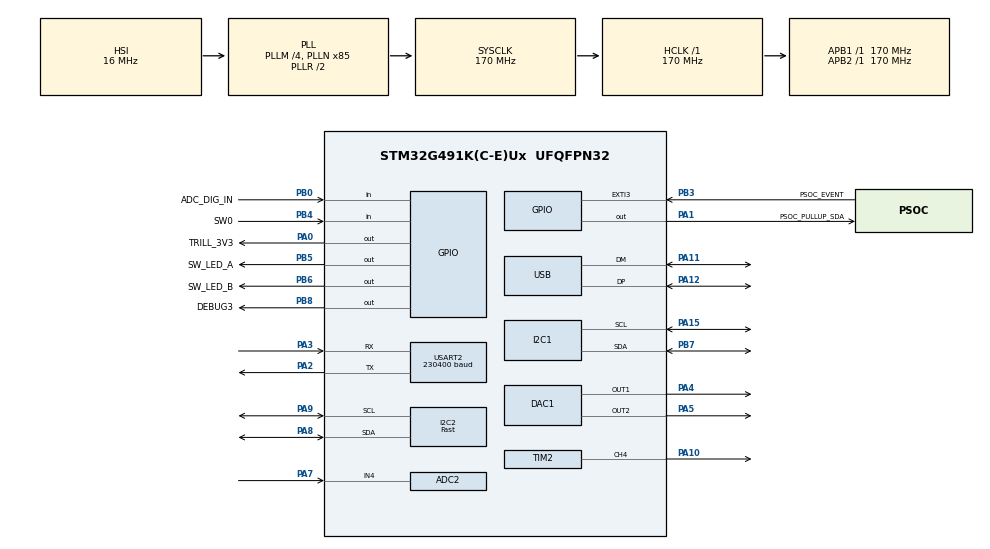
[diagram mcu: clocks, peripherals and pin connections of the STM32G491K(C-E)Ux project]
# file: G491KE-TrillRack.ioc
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ADC2.Channel-0\#ChannelRegularConversion=ADC_CHANNEL_4
ADC2.ClockPrescaler=ADC_CLOCK_ASYNC_DIV4
ADC2.DMAContinuousRequests=ENABLE
ADC2.ExternalTrigConv=ADC_EXTERNALTRIG_T6_TRGO
ADC2.NbrOfConversion=1
ADC2.NbrOfConversionFlag=1
ADC2.OffsetNumber-0\#ChannelRegularConversion=ADC_OFFSET_NONE
ADC2.OversamplingMode=ENABLE
ADC2.Rank-0\#ChannelRegularConversion=1
ADC2.Ratio=ADC_OVERSAMPLING_RATIO_16
ADC2.RightBitShift=ADC_RIGHTBITSHIFT_1
ADC2.SamplingTime-0\#ChannelRegularConversion=ADC_SAMPLETIME_47CYCLES_5
DAC1.DAC_Channel-DAC_OUT2=DAC_CHANNEL_2
DAC1.DAC_Trigger_OUT1-DAC_OUT1=DAC_TRIGGER_T6_TRGO
DAC1.DAC_Trigger_OUT2-DAC_OUT2=DAC_TRIGGER_T6_TRGO
Dma.ADC2.4.Direction=DMA_PERIPH_TO_MEMORY
Dma.ADC2.4.EventEnable=DISABLE
Dma.ADC2.4.Instance=DMA1_Channel5
Dma.ADC2.4.MemDataAlignment=DMA_MDATAALIGN_HALFWORD
Dma.ADC2.4.MemInc=DMA_MINC_ENABLE
Dma.ADC2.4.Mode=DMA_CIRCULAR
Dma.ADC2.4.PeriphDataAlignment=DMA_PDATAALIGN_HALFWORD
Dma.ADC2.4.PeriphInc=DMA_PINC_DISABLE
Dma.ADC2.4.Polarity=HAL_DMAMUX_REQ_GEN_RISING
Dma.ADC2.4.Priority=DMA_PRIORITY_LOW
Dma.ADC2.4.RequestNumber=1
Dma.ADC2.4.SignalID=NONE
Dma.ADC2.4.SyncEnable=DISABLE
Dma.ADC2.4.SyncPolarity=HAL_DMAMUX_SYNC_NO_EVENT
Dma.ADC2.4.SyncRequestNumber=1
Dma.ADC2.4.SyncSignalID=NONE
Dma.DAC1_CH1.2.Direction=DMA_MEMORY_TO_PERIPH
Dma.DAC1_CH1.2.EventEnable=DISABLE
Dma.DAC1_CH1.2.Instance=DMA1_Channel3
Dma.DAC1_CH1.2.MemDataAlignment=DMA_MDATAALIGN_HALFWORD
Dma.DAC1_CH1.2.MemInc=DMA_MINC_ENABLE
Dma.DAC1_CH1.2.Mode=DMA_CIRCULAR
Dma.DAC1_CH1.2.PeriphDataAlignment=DMA_PDATAALIGN_WORD
Dma.DAC1_CH1.2.PeriphInc=DMA_PINC_DISABLE
Dma.DAC1_CH1.2.Polarity=HAL_DMAMUX_REQ_GEN_RISING
Dma.DAC1_CH1.2.Priority=DMA_PRIORITY_LOW
Dma.DAC1_CH1.2.RequestNumber=1
Dma.DAC1_CH1.2.SignalID=NONE
Dma.DAC1_CH1.2.SyncEnable=DISABLE
Dma.DAC1_CH1.2.SyncPolarity=HAL_DMAMUX_SYNC_NO_EVENT
Dma.DAC1_CH1.2.SyncRequestNumber=1
Dma.DAC1_CH1.2.SyncSignalID=NONE
Dma.DAC1_CH2.3.Direction=DMA_MEMORY_TO_PERIPH
Dma.DAC1_CH2.3.EventEnable=DISABLE
Dma.DAC1_CH2.3.Instance=DMA1_Channel4
Dma.DAC1_CH2.3.MemDataAlignment=DMA_MDATAALIGN_HALFWORD
Dma.DAC1_CH2.3.MemInc=DMA_MINC_ENABLE
Dma.DAC1_CH2.3.Mode=DMA_CIRCULAR
Dma.DAC1_CH2.3.PeriphDataAlignment=DMA_PDATAALIGN_WORD
Dma.DAC1_CH2.3.PeriphInc=DMA_PINC_DISABLE
Dma.DAC1_CH2.3.Polarity=HAL_DMAMUX_REQ_GEN_RISING
Dma.DAC1_CH2.3.Priority=DMA_PRIORITY_LOW
Dma.DAC1_CH2.3.RequestNumber=1
Dma.DAC1_CH2.3.SignalID=NONE
Dma.DAC1_CH2.3.SyncEnable=DISABLE
Dma.DAC1_CH2.3.SyncPolarity=HAL_DMAMUX_SYNC_NO_EVENT
Dma.DAC1_CH2.3.SyncRequestNumber=1
Dma.DAC1_CH2.3.SyncSignalID=NONE
Dma.I2C1_RX.7.Direction=DMA_PERIPH_TO_MEMORY
Dma.I2C1_RX.7.EventEnable=DISABLE
Dma.I2C1_RX.7.Instance=DMA2_Channel1
Dma.I2C1_RX.7.MemDataAlignment=DMA_MDATAALIGN_BYTE
Dma.I2C1_RX.7.MemInc=DMA_MINC_ENABLE
Dma.I2C1_RX.7.Mode=DMA_NORMAL
Dma.I2C1_RX.7.PeriphDataAlignment=DMA_PDATAALIGN_BYTE
Dma.I2C1_RX.7.PeriphInc=DMA_PINC_DISABLE
Dma.I2C1_RX.7.Polarity=HAL_DMAMUX_REQ_GEN_RISING
Dma.I2C1_RX.7.Priority=DMA_PRIORITY_LOW
Dma.I2C1_RX.7.RequestNumber=1
Dma.I2C1_RX.7.SignalID=NONE
Dma.I2C1_RX.7.SyncEnable=DISABLE
Dma.I2C1_RX.7.SyncPolarity=HAL_DMAMUX_SYNC_NO_EVENT
Dma.I2C1_RX.7.SyncRequestNumber=1
Dma.I2C1_RX.7.SyncSignalID=NONE
Dma.I2C1_TX.8.Direction=DMA_MEMORY_TO_PERIPH
Dma.I2C1_TX.8.EventEnable=DISABLE
Dma.I2C1_TX.8.Instance=DMA2_Channel2
Dma.I2C1_TX.8.MemDataAlignment=DMA_MDATAALIGN_BYTE
Dma.I2C1_TX.8.MemInc=DMA_MINC_ENABLE
Dma.I2C1_TX.8.Mode=DMA_NORMAL
Dma.I2C1_TX.8.PeriphDataAlignment=DMA_PDATAALIGN_BYTE
Dma.I2C1_TX.8.PeriphInc=DMA_PINC_DISABLE
Dma.I2C1_TX.8.Polarity=HAL_DMAMUX_REQ_GEN_RISING
Dma.I2C1_TX.8.Priority=DMA_PRIORITY_LOW
Dma.I2C1_TX.8.RequestNumber=1
Dma.I2C1_TX.8.SignalID=NONE
Dma.I2C1_TX.8.SyncEnable=DISABLE
Dma.I2C1_TX.8.SyncPolarity=HAL_DMAMUX_SYNC_NO_EVENT
Dma.I2C1_TX.8.SyncRequestNumber=1
Dma.I2C1_TX.8.SyncSignalID=NONE
Dma.I2C2_RX.1.Direction=DMA_PERIPH_TO_MEMORY
Dma.I2C2_RX.1.EventEnable=DISABLE
Dma.I2C2_RX.1.Instance=DMA1_Channel2
Dma.I2C2_RX.1.MemDataAlignment=DMA_MDATAALIGN_BYTE
Dma.I2C2_RX.1.MemInc=DMA_MINC_ENABLE
Dma.I2C2_RX.1.Mode=DMA_NORMAL
Dma.I2C2_RX.1.PeriphDataAlignment=DMA_PDATAALIGN_BYTE
Dma.I2C2_RX.1.PeriphInc=DMA_PINC_DISABLE
Dma.I2C2_RX.1.Polarity=HAL_DMAMUX_REQ_GEN_RISING
Dma.I2C2_RX.1.Priority=DMA_PRIORITY_LOW
Dma.I2C2_RX.1.RequestNumber=1
Dma.I2C2_RX.1.SignalID=NONE
Dma.I2C2_RX.1.SyncEnable=DISABLE
Dma.I2C2_RX.1.SyncPolarity=HAL_DMAMUX_SYNC_NO_EVENT
Dma.I2C2_RX.1.SyncRequestNumber=1
Dma.I2C2_RX.1.SyncSignalID=NONE
Dma.Request0=TIM2_CH4
Dma.Request1=I2C2_RX
Dma.Request2=DAC1_CH1
Dma.Request3=DAC1_CH2
Dma.Request4=ADC2
Dma.Request5=TIM1_CH2
Dma.Request6=TIM1_CH1
Dma.Request7=I2C1_RX
Dma.Request8=I2C1_TX
Dma.TIM1_CH1.6.Direction=DMA_PERIPH_TO_MEMORY
Dma.TIM1_CH1.6.EventEnable=DISABLE
Dma.TIM1_CH1.6.Instance=DMA1_Channel7
Dma.TIM1_CH1.6.MemDataAlignment=DMA_MDATAALIGN_HALFWORD
Dma.TIM1_CH1.6.MemInc=DMA_MINC_ENABLE
Dma.TIM1_CH1.6.Mode=DMA_CIRCULAR
Dma.TIM1_CH1.6.PeriphDataAlignment=DMA_PDATAALIGN_HALFWORD
Dma.TIM1_CH1.6.PeriphInc=DMA_PINC_DISABLE
Dma.TIM1_CH1.6.Polarity=HAL_DMAMUX_REQ_GEN_RISING
Dma.TIM1_CH1.6.Priority=DMA_PRIORITY_LOW
Dma.TIM1_CH1.6.RequestNumber=1
Dma.TIM1_CH1.6.SignalID=NONE
Dma.TIM1_CH1.6.SyncEnable=DISABLE
Dma.TIM1_CH1.6.SyncPolarity=HAL_DMAMUX_SYNC_NO_EVENT
Dma.TIM1_CH1.6.SyncRequestNumber=1
Dma.TIM1_CH1.6.SyncSignalID=NONE
Dma.TIM1_CH2.5.Direction=DMA_MEMORY_TO_PERIPH
Dma.TIM1_CH2.5.EventEnable=DISABLE
Dma.TIM1_CH2.5.Instance=DMA1_Channel6
Dma.TIM1_CH2.5.MemDataAlignment=DMA_MDATAALIGN_WORD
Dma.TIM1_CH2.5.MemInc=DMA_MINC_ENABLE
Dma.TIM1_CH2.5.Mode=DMA_CIRCULAR
Dma.TIM1_CH2.5.PeriphDataAlignment=DMA_PDATAALIGN_WORD
Dma.TIM1_CH2.5.PeriphInc=DMA_PINC_DISABLE
Dma.TIM1_CH2.5.Polarity=HAL_DMAMUX_REQ_GEN_RISING
Dma.TIM1_CH2.5.Priority=DMA_PRIORITY_LOW
Dma.TIM1_CH2.5.RequestNumber=1
Dma.TIM1_CH2.5.SignalID=NONE
Dma.TIM1_CH2.5.SyncEnable=DISABLE
Dma.TIM1_CH2.5.SyncPolarity=HAL_DMAMUX_SYNC_NO_EVENT
Dma.TIM1_CH2.5.SyncRequestNumber=1
Dma.TIM1_CH2.5.SyncSignalID=NONE
Dma.TIM2_CH4.0.Direction=DMA_MEMORY_TO_PERIPH
Dma.TIM2_CH4.0.EventEnable=DISABLE
Dma.TIM2_CH4.0.Instance=DMA1_Channel1
Dma.TIM2_CH4.0.MemDataAlignment=DMA_MDATAALIGN_WORD
Dma.TIM2_CH4.0.MemInc=DMA_MINC_ENABLE
Dma.TIM2_CH4.0.Mode=DMA_NORMAL
Dma.TIM2_CH4.0.PeriphDataAlignment=DMA_PDATAALIGN_WORD
Dma.TIM2_CH4.0.PeriphInc=DMA_PINC_DISABLE
Dma.TIM2_CH4.0.Polarity=HAL_DMAMUX_REQ_GEN_RISING
Dma.TIM2_CH4.0.Priority=DMA_PRIORITY_LOW
Dma.TIM2_CH4.0.RequestNumber=1
Dma.TIM2_CH4.0.SignalID=NONE
Dma.TIM2_CH4.0.SyncEnable=DISABLE
Dma.TIM2_CH4.0.SyncPolarity=HAL_DMAMUX_SYNC_NO_EVENT
Dma.TIM2_CH4.0.SyncRequestNumber=1
Dma.TIM2_CH4.0.SyncSignalID=NONE
I2C1.Analog_Filter=I2C_ANALOGFILTER_ENABLE
I2C1.I2C_Coeff_DF=0
I2C1.OwnAddress=0x12
I2C1.Timing=0x30A0A7FB
I2C2.I2C_Speed_Mode=I2C_Fast
I2C2.Timing=0x10802D9B
Mcu.Family=STM32G4
Mcu.Name=STM32G491K(C-E)Ux
Mcu.Package=UFQFPN32
Mcu.UserConstants=TIM2_COUNTER_PERIOD,212
NVIC.DMA1_Channel1_IRQn=true\:0\:0\:false\:false\:true\:false\:true\:true
NVIC.DMA1_Channel2_IRQn=true\:0\:0\:false\:false\:true\:false\:true\:true
NVIC.DMA1_Channel3_IRQn=true\:0\:0\:false\:false\:true\:false\:true\:true
NVIC.DMA1_Channel4_IRQn=true\:0\:0\:false\:false\:true\:false\:true\:true
NVIC.DMA1_Channel5_IRQn=true\:0\:0\:false\:false\:true\:false\:true\:true
NVIC.DMA1_Channel6_IRQn=true\:0\:0\:false\:false\:true\:false\:true\:true
NVIC.DMA1_Channel7_IRQn=true\:0\:0\:false\:false\:true\:false\:true\:true
NVIC.DMA2_Channel1_IRQn=true\:0\:0\:false\:false\:true\:false\:true\:true
NVIC.DMA2_Channel2_IRQn=true\:0\:0\:false\:false\:true\:false\:true\:true
NVIC.EXTI3_IRQn=true\:9\:0\:true\:false\:true\:true\:true\:true
NVIC.I2C1_ER_IRQn=true\:0\:0\:false\:false\:true\:true\:true\:true
NVIC.I2C1_EV_IRQn=true\:0\:0\:false\:false\:true\:true\:true\:true
NVIC.I2C2_ER_IRQn=true\:0\:0\:false\:false\:true\:true\:true\:true
NVIC.I2C2_EV_IRQn=true\:8\:0\:true\:false\:true\:true\:true\:true
NVIC.PriorityGroup=NVIC_PRIORITYGROUP_4
NVIC.USB_LP_IRQn=true\:0\:0\:false\:false\:true\:false\:true\:true
PA0.GPIO_Label=TRILL_3V3
PA0.Signal=GPIO_Output
PA1.GPIO_Label=PSOC_PULLUP_SDA
PA1.Signal=GPIO_Output
PA10.Signal=S_TIM2_CH4
PA11.Mode=Device
PA11.Signal=USB_DM
PA12.Mode=Device
PA12.Signal=USB_DP
PA13.Signal=SYS_JTMS-SWDIO
PA14.Signal=SYS_JTCK-SWCLK
PA15.GPIO_Speed=GPIO_SPEED_FREQ_VERY_HIGH
PA15.Mode=I2C
PA15.Signal=I2C1_SCL
PA2.Mode=Asynchronous
PA2.Signal=USART2_TX
PA3.Mode=Asynchronous
PA3.Signal=USART2_RX
PA4.Signal=COMP_DAC11_group
PA5.Signal=COMP_DAC12_group
PA7.Mode=IN4-Single-Ended
PA7.Signal=ADC2_IN4
PA8.Mode=I2C
PA8.Signal=I2C2_SDA
PA9.Mode=I2C
PA9.Signal=I2C2_SCL
PB0.GPIO_Label=ADC_DIG_IN
PB0.Signal=GPIO_Input
PB3.GPIO_Label=PSOC_EVENT
PB3.Signal=GPXTI3
PB4.GPIO_Label=SW0
PB4.GPIO_PuPd=GPIO_PULLUP
PB4.Signal=GPIO_Input
PB5.GPIO_Label=SW_LED_A
PB5.GPIO_Speed=GPIO_SPEED_FREQ_LOW
PB5.Signal=GPIO_Output
PB6.GPIO_Label=SW_LED_B
PB6.Signal=GPIO_Output
PB7.GPIO_FM7=SYSCFG_FASTMODEPLUS_PB7
PB7.GPIO_Speed=GPIO_SPEED_FREQ_VERY_HIGH
PB7.Mode=I2C
PB7.Signal=I2C1_SDA
PB8-BOOT0.GPIO_Label=DEBUG3
PB8-BOOT0.Signal=GPIO_Output
PF0-OSC_IN.Mode=HSE-External-Oscillator
PF0-OSC_IN.Signal=RCC_OSC_IN
PF1-OSC_OUT.Mode=HSE-External-Oscillator
PF1-OSC_OUT.Signal=RCC_OSC_OUT
ProjectManager.HeapSize=0x200
ProjectManager.StackSize=0x400
ProjectManager.TargetToolchain=STM32CubeIDE
RCC.ADC12Freq_Value=170000000
RCC.ADC345Freq_Value=170000000
RCC.AHBFreq_Value=170000000
RCC.APB1Freq_Value=170000000
RCC.APB1TimFreq_Value=170000000
RCC.APB2Freq_Value=170000000
RCC.APB2TimFreq_Value=170000000
RCC.CortexFreq_Value=170000000
RCC.EXTERNAL_CLOCK_VALUE=12288000
RCC.HCLKFreq_Value=170000000
RCC.HSE_VALUE=8000000
RCC.HSI48_VALUE=48000000
RCC.HSI_VALUE=16000000
RCC.LSE_VALUE=32768
RCC.PLLM=RCC_PLLM_DIV4
RCC.PLLN=85
RCC.PREFETCH_ENABLE=1
RCC.SYSCLKFreq_VALUE=170000000
RCC.SYSCLKSource=RCC_SYSCLKSOURCE_PLLCLK
RCC.USBFreq_Value=48000000
RCC.VCOOutputFreq_Value=340000000
SH.COMP_DAC11_group.0=DAC1_OUT1,DAC_OUT1
SH.COMP_DAC12_group.0=DAC1_OUT2,DAC_OUT2
SH.S_TIM2_CH4.0=TIM2_CH4,PWM Generation4 CH4
TIM1.Channel-PWM\ Generation1\ No\ Output=TIM_CHANNEL_1
TIM1.Channel-PWM\ Generation2\ No\ Output=TIM_CHANNEL_2
TIM1.PeriodNoDither=4000
TIM2.Channel-PWM\ Generation4\ CH4=TIM_CHANNEL_4
TIM2.PeriodNoDither=TIM2_COUNTER_PERIOD
TIM6.AutoReloadPreload=TIM_AUTORELOAD_PRELOAD_ENABLE
TIM6.PeriodNoDither=4000
TIM6.TIM_MasterOutputTrigger=TIM_TRGO_UPDATE
USART2.BaudRate=230400
USART2.VirtualMode-Asynchronous=VM_ASYNC
USB_DEVICE.CLASS_NAME_FS=CDC
USB_DEVICE.PRODUCT_STRING_CDC_FS=TrillRack-rev1
USB_DEVICE.USBD_SELF_POWERED=0
USB_DEVICE.VirtualMode=Cdc
USB_DEVICE.VirtualModeFS=Cdc_FS
VP_RTC_VS_RTC_Activate.Mode=RTC_Enabled
VP_SYS_VS_DBSignals.Mode=DisableDeadBatterySignals
VP_TIM1_VS_ClockSourceINT.Mode=Internal
VP_TIM1_VS_no_output1.Mode=PWM Generation1 No Output
VP_TIM1_VS_no_output2.Mode=PWM Generation2 No Output
VP_TIM2_VS_ClockSourceINT.Mode=Internal
VP_TIM6_VS_ClockSourceINT.Mode=Enable_Timer
VP_USB_DEVICE_VS_USB_DEVICE_CDC_FS.Mode=CDC_FS
board=custom

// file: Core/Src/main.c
/* USER CODE BEGIN Header */
/**
  ******************************************************************************
  * @file           : main.c
  * @brief          : Main program body
  ******************************************************************************
  * @attention
  *
  * <h2><center>&copy; Copyright (c) 2021 STMicroelectronics.
  * All rights reserved.</center></h2>
  *
  * This software component is licensed by ST under BSD 3-Clause license,
  * the "License"; You may not use this file except in compliance with the
  * License. You may obtain a copy of the License at:
  *                        opensource.org/licenses/BSD-3-Clause
  *
  ******************************************************************************
  */
/* USER CODE END Header */
#include "main.h"
#include "usb_device.h"

/* USER CODE BEGIN Includes */
#include "../../common_stuff/retarget.h"
#include "../../common_stuff/verificationBlock.h"
#include "../../common_stuff/midiHandler.h"
#include "../../common_stuff/i2cExternal.h"
#include "../../common_stuff/pinManager.h"
#ifndef CFG_FLASHER
#include "../../TrillRackApplication/TrillRackApplicationStm32.h"
#endif // CFG_FLASHER
#include "bootloader.h"
/* USER CODE END Includes */

ADC_HandleTypeDef hadc2;
DMA_HandleTypeDef hdma_adc2;

DAC_HandleTypeDef hdac1;
DMA_HandleTypeDef hdma_dac1_ch1;
DMA_HandleTypeDef hdma_dac1_ch2;

I2C_HandleTypeDef hi2c1;
I2C_HandleTypeDef hi2c2;
DMA_HandleTypeDef hdma_i2c1_rx;
DMA_HandleTypeDef hdma_i2c1_tx;
DMA_HandleTypeDef hdma_i2c2_rx;

RTC_HandleTypeDef hrtc;

TIM_HandleTypeDef htim1;
TIM_HandleTypeDef htim2;
TIM_HandleTypeDef htim6;
DMA_HandleTypeDef hdma_tim1_ch2;
DMA_HandleTypeDef hdma_tim1_ch1;
DMA_HandleTypeDef hdma_tim2_ch4;

UART_HandleTypeDef huart2;

void SystemClock_Config(void);
static void MX_GPIO_Init(void);
static void MX_DMA_Init(void);
static void MX_USART2_UART_Init(void);
static void MX_ADC2_Init(void);
static void MX_DAC1_Init(void);
static void MX_TIM2_Init(void);
static void MX_I2C2_Init(void);
static void MX_TIM6_Init(void);
static void MX_TIM1_Init(void);
static void MX_RTC_Init(void);
static void MX_I2C1_Init(void);

/* USER CODE BEGIN 0 */
static void resetUsbDp()
{
  // temporarily set USB_DP pin (PA12) low to force the host to re enumerate it
  // (it will be set high again by MX_USB_DEVICE_Init() below)
  __HAL_RCC_GPIOA_CLK_ENABLE();
  GPIO_InitTypeDef GPIO_InitStructure;
  GPIO_InitStructure.Pin = GPIO_PIN_12;
  GPIO_InitStructure.Mode = GPIO_MODE_OUTPUT_PP;
  GPIO_InitStructure.Speed = GPIO_SPEED_FREQ_LOW;
  HAL_GPIO_Init(GPIOA, &GPIO_InitStructure);
  HAL_GPIO_WritePin(GPIOA, GPIO_PIN_12, GPIO_PIN_RESET);
  for(volatile unsigned int i = 0; i < 1 * 1000 * 1000; ++i)
    ; // wait (about 74ms) for the host to recognise the change
}
/* USER CODE END 0 */

int main(void)
{
  /* USER CODE BEGIN 1 */
#ifdef CFG_BOOTLOADER
  // minimal initialisation to:
  // - keep code size to a minimum
  // - ensure there is nothing else initialised by the time we jump
  HAL_Init();
  SystemClock_Config();
  MX_RTC_Init();
  BootloaderResetDest_t to = bootloaderGetDest(&hrtc);
  // NOTE: we jump to bootloader _after_ toggling the USB_DP pin so that if we end up
  // jumping to system bootloader, the host will be able to detect DFU
  resetUsbDp();
  // borrowed from MX_GPIO_Init() --- start
  /*Configure GPIO pins : SW_LED_A_Pin SW_LED_B_Pin DEBUG3_Pin */
  __HAL_RCC_GPIOB_CLK_ENABLE();
  GPIO_InitTypeDef GPIO_InitStruct = {0};
  GPIO_InitStruct.Pin = SW_LED_A_Pin|SW_LED_B_Pin|DEBUG3_Pin;
  GPIO_InitStruct.Mode = GPIO_MODE_OUTPUT_PP;
  GPIO_InitStruct.Pull = GPIO_NOPULL;
  GPIO_InitStruct.Speed = GPIO_SPEED_FREQ_LOW;
  HAL_GPIO_Init(GPIOB, &GPIO_InitStruct);
  // borrowed from MX_GPIO_Init() --- stop
  GPIO_PinState swa;
  GPIO_PinState swb;
  switch(to)
  {
  default:
  case kBootloaderMagicUserApplication:
	  // green
	  swa = GPIO_PIN_SET;
	  swb = GPIO_PIN_RESET;
	  break;
  case kBootloaderMagicSystemBootloader:
  case kBootloaderMagicUserFlasher:
	  // red
	  swa = GPIO_PIN_RESET;
	  swb = GPIO_PIN_SET;
	  break;
  }
  HAL_GPIO_WritePin(GPIOB, SW_LED_A_Pin, swa);
  HAL_GPIO_WritePin(GPIOB, SW_LED_B_Pin, swb);
  bootloaderJump(&hrtc, to);
  while(1)
	  ;
#else //!CFG_BOOTLOADER
  bootloaderSetVector();
  /* USER CODE END 1 */

  /* MCU Configuration--------------------------------------------------------*/

  /* Reset of all peripherals, Initializes the Flash interface and the Systick. */
  HAL_Init();

  /* Configure the system clock */
  SystemClock_Config();

  /* USER CODE BEGIN SysInit */

  // initialise the bare minimum to run the neopixels
  // so we can turn them all off ASAP
  MX_GPIO_Init();
  MX_DMA_Init();
  MX_TIM2_Init();
#ifndef CFG_FLASHER
  TrillRackApplication_earlyInit();
#endif //CFG_FLASHER
  resetUsbDp();
  /* USER CODE END SysInit */

  /* Initialize all configured peripherals */
  MX_GPIO_Init();
  MX_DMA_Init();
  MX_USART2_UART_Init();
  MX_ADC2_Init();
  MX_DAC1_Init();
  MX_TIM2_Init();
  MX_I2C2_Init();
  MX_TIM6_Init();
  MX_TIM1_Init();
  MX_USB_Device_Init();
  MX_RTC_Init();
  MX_I2C1_Init();
  /* USER CODE BEGIN 2 */
  RetargetInit(&huart2);
  // Sending bell character, in case we are looking at screen and want a notification on boot
  printf("\a\a\a\a");
  printf("Booting %s: %s\n\r", bootloaderIsFlasher() ? "flasher" : "application", kVerificationBlock.stringId);
  printf("%s\n\r", kVerificationBlock.gitHashes);
  midiInit();

  i2cMidiInit();
#ifdef CFG_FLASHER
  printf("Making PSoC pins available for debugging\n\r");
  i2cPinsMode(kI2cPinsModeExternal);
  // red
  HAL_GPIO_WritePin(GPIOB, SW_LED_A_Pin, GPIO_PIN_RESET);
  HAL_GPIO_WritePin(GPIOB, SW_LED_B_Pin, GPIO_PIN_SET);
#else //CFG__FLASHER
  int ret = TrillRackApplication();
  printf("TrillRackApplication returned %d\n", ret);
  Error_Handler();
#endif //CFG_FLASHER
  /* USER CODE END 2 */

  /* Infinite loop */
  /* USER CODE BEGIN WHILE */
  while (1)
  {
#ifdef CFG_FLASHER
    processMidiMessage();
    i2cProcessIncomingFromMainThread();
#endif // CFG_FLASHER
    /* USER CODE END WHILE */

    /* USER CODE BEGIN 3 */
  }
#endif // !CFG_BOOTLOADER
  /* USER CODE END 3 */
}

void SystemClock_Config(void)
{
  RCC_OscInitTypeDef RCC_OscInitStruct = {0};
  RCC_ClkInitTypeDef RCC_ClkInitStruct = {0};
  RCC_PeriphCLKInitTypeDef PeriphClkInit = {0};

  /** Configure the main internal regulator output voltage
  */
  HAL_PWREx_ControlVoltageScaling(PWR_REGULATOR_VOLTAGE_SCALE1_BOOST);
  /** Initializes the RCC Oscillators according to the specified parameters
  * in the RCC_OscInitTypeDef structure.
  */
  RCC_OscInitStruct.OscillatorType = RCC_OSCILLATORTYPE_HSI|RCC_OSCILLATORTYPE_HSI48
                              |RCC_OSCILLATORTYPE_LSI;
  RCC_OscInitStruct.HSIState = RCC_HSI_ON;
  RCC_OscInitStruct.HSICalibrationValue = RCC_HSICALIBRATION_DEFAULT;
  RCC_OscInitStruct.LSIState = RCC_LSI_ON;
  RCC_OscInitStruct.HSI48State = RCC_HSI48_ON;
  RCC_OscInitStruct.PLL.PLLState = RCC_PLL_ON;
  RCC_OscInitStruct.PLL.PLLSource = RCC_PLLSOURCE_HSI;
  RCC_OscInitStruct.PLL.PLLM = RCC_PLLM_DIV4;
  RCC_OscInitStruct.PLL.PLLN = 85;
  RCC_OscInitStruct.PLL.PLLP = RCC_PLLP_DIV2;
  RCC_OscInitStruct.PLL.PLLQ = RCC_PLLQ_DIV2;
  RCC_OscInitStruct.PLL.PLLR = RCC_PLLR_DIV2;
  if (HAL_RCC_OscConfig(&RCC_OscInitStruct) != HAL_OK)
  {
    Error_Handler();
  }
  /** Initializes the CPU, AHB and APB buses clocks
  */
  RCC_ClkInitStruct.ClockType = RCC_CLOCKTYPE_HCLK|RCC_CLOCKTYPE_SYSCLK
                              |RCC_CLOCKTYPE_PCLK1|RCC_CLOCKTYPE_PCLK2;
  RCC_ClkInitStruct.SYSCLKSource = RCC_SYSCLKSOURCE_PLLCLK;
  RCC_ClkInitStruct.AHBCLKDivider = RCC_SYSCLK_DIV1;
  RCC_ClkInitStruct.APB1CLKDivider = RCC_HCLK_DIV1;
  RCC_ClkInitStruct.APB2CLKDivider = RCC_HCLK_DIV1;

  if (HAL_RCC_ClockConfig(&RCC_ClkInitStruct, FLASH_LATENCY_4) != HAL_OK)
  {
    Error_Handler();
  }
  /** Initializes the peripherals clocks
  */
  PeriphClkInit.PeriphClockSelection = RCC_PERIPHCLK_RTC|RCC_PERIPHCLK_USART2
                              |RCC_PERIPHCLK_I2C1|RCC_PERIPHCLK_I2C2
                              |RCC_PERIPHCLK_USB|RCC_PERIPHCLK_ADC12;
  PeriphClkInit.Usart2ClockSelection = RCC_USART2CLKSOURCE_PCLK1;
  PeriphClkInit.I2c1ClockSelection = RCC_I2C1CLKSOURCE_PCLK1;
  PeriphClkInit.I2c2ClockSelection = RCC_I2C2CLKSOURCE_PCLK1;
  PeriphClkInit.UsbClockSelection = RCC_USBCLKSOURCE_HSI48;
  PeriphClkInit.Adc12ClockSelection = RCC_ADC12CLKSOURCE_SYSCLK;
  PeriphClkInit.RTCClockSelection = RCC_RTCCLKSOURCE_LSI;
  if (HAL_RCCEx_PeriphCLKConfig(&PeriphClkInit) != HAL_OK)
  {
    Error_Handler();
  }
}

static void MX_ADC2_Init(void)
{

  ADC_ChannelConfTypeDef sConfig = {0};

  /** Common config
  */
  hadc2.Instance = ADC2;
  hadc2.Init.ClockPrescaler = ADC_CLOCK_ASYNC_DIV4;
  hadc2.Init.Resolution = ADC_RESOLUTION_12B;
  hadc2.Init.DataAlign = ADC_DATAALIGN_RIGHT;
  hadc2.Init.GainCompensation = 0;
  hadc2.Init.ScanConvMode = ADC_SCAN_DISABLE;
  hadc2.Init.EOCSelection = ADC_EOC_SINGLE_CONV;
  hadc2.Init.LowPowerAutoWait = DISABLE;
  hadc2.Init.ContinuousConvMode = DISABLE;
  hadc2.Init.NbrOfConversion = 1;
  hadc2.Init.DiscontinuousConvMode = DISABLE;
  hadc2.Init.ExternalTrigConv = ADC_EXTERNALTRIG_T6_TRGO;
  hadc2.Init.ExternalTrigConvEdge = ADC_EXTERNALTRIGCONVEDGE_RISING;
  hadc2.Init.DMAContinuousRequests = ENABLE;
  hadc2.Init.Overrun = ADC_OVR_DATA_PRESERVED;
  hadc2.Init.OversamplingMode = ENABLE;
  hadc2.Init.Oversampling.Ratio = ADC_OVERSAMPLING_RATIO_16;
  hadc2.Init.Oversampling.RightBitShift = ADC_RIGHTBITSHIFT_1;
  hadc2.Init.Oversampling.TriggeredMode = ADC_TRIGGEREDMODE_SINGLE_TRIGGER;
  hadc2.Init.Oversampling.OversamplingStopReset = ADC_REGOVERSAMPLING_CONTINUED_MODE;
  if (HAL_ADC_Init(&hadc2) != HAL_OK)
  {
    Error_Handler();
  }
  /** Configure Regular Channel
  */
  sConfig.Channel = ADC_CHANNEL_4;
  sConfig.Rank = ADC_REGULAR_RANK_1;
  sConfig.SamplingTime = ADC_SAMPLETIME_47CYCLES_5;
  sConfig.SingleDiff = ADC_SINGLE_ENDED;
  sConfig.OffsetNumber = ADC_OFFSET_NONE;
  sConfig.Offset = 0;
  if (HAL_ADC_ConfigChannel(&hadc2, &sConfig) != HAL_OK)
  {
    Error_Handler();
  }

}

static void MX_DAC1_Init(void)
{

  DAC_ChannelConfTypeDef sConfig = {0};

  /** DAC Initialization
  */
  hdac1.Instance = DAC1;
  if (HAL_DAC_Init(&hdac1) != HAL_OK)
  {
    Error_Handler();
  }
  /** DAC channel OUT1 config
  */
  sConfig.DAC_HighFrequency = DAC_HIGH_FREQUENCY_INTERFACE_MODE_AUTOMATIC;
  sConfig.DAC_DMADoubleDataMode = DISABLE;
  sConfig.DAC_SignedFormat = DISABLE;
  sConfig.DAC_SampleAndHold = DAC_SAMPLEANDHOLD_DISABLE;
  sConfig.DAC_Trigger = DAC_TRIGGER_T6_TRGO;
  sConfig.DAC_Trigger2 = DAC_TRIGGER_NONE;
  sConfig.DAC_OutputBuffer = DAC_OUTPUTBUFFER_ENABLE;
  sConfig.DAC_ConnectOnChipPeripheral = DAC_CHIPCONNECT_EXTERNAL;
  sConfig.DAC_UserTrimming = DAC_TRIMMING_FACTORY;
  if (HAL_DAC_ConfigChannel(&hdac1, &sConfig, DAC_CHANNEL_1) != HAL_OK)
  {
    Error_Handler();
  }
  /** DAC channel OUT2 config
  */
  if (HAL_DAC_ConfigChannel(&hdac1, &sConfig, DAC_CHANNEL_2) != HAL_OK)
  {
    Error_Handler();
  }

}

static void MX_I2C1_Init(void)
{

  hi2c1.Instance = I2C1;
  hi2c1.Init.Timing = 0x30A0A7FB;
  hi2c1.Init.OwnAddress1 = 36;
  hi2c1.Init.AddressingMode = I2C_ADDRESSINGMODE_7BIT;
  hi2c1.Init.DualAddressMode = I2C_DUALADDRESS_DISABLE;
  hi2c1.Init.OwnAddress2 = 0;
  hi2c1.Init.OwnAddress2Masks = I2C_OA2_NOMASK;
  hi2c1.Init.GeneralCallMode = I2C_GENERALCALL_DISABLE;
  hi2c1.Init.NoStretchMode = I2C_NOSTRETCH_DISABLE;
  if (HAL_I2C_Init(&hi2c1) != HAL_OK)
  {
    Error_Handler();
  }
  /** Configure Analogue filter
  */
  if (HAL_I2CEx_ConfigAnalogFilter(&hi2c1, I2C_ANALOGFILTER_ENABLE) != HAL_OK)
  {
    Error_Handler();
  }
  /** Configure Digital filter
  */
  if (HAL_I2CEx_ConfigDigitalFilter(&hi2c1, 0) != HAL_OK)
  {
    Error_Handler();
  }

}

static void MX_I2C2_Init(void)
{

  hi2c2.Instance = I2C2;
  hi2c2.Init.Timing = 0x10802D9B;
  hi2c2.Init.OwnAddress1 = 0;
  hi2c2.Init.AddressingMode = I2C_ADDRESSINGMODE_7BIT;
  hi2c2.Init.DualAddressMode = I2C_DUALADDRESS_DISABLE;
  hi2c2.Init.OwnAddress2 = 0;
  hi2c2.Init.OwnAddress2Masks = I2C_OA2_NOMASK;
  hi2c2.Init.GeneralCallMode = I2C_GENERALCALL_DISABLE;
  hi2c2.Init.NoStretchMode = I2C_NOSTRETCH_DISABLE;
  if (HAL_I2C_Init(&hi2c2) != HAL_OK)
  {
    Error_Handler();
  }
  /** Configure Analogue filter
  */
  if (HAL_I2CEx_ConfigAnalogFilter(&hi2c2, I2C_ANALOGFILTER_ENABLE) != HAL_OK)
  {
    Error_Handler();
  }
  /** Configure Digital filter
  */
  if (HAL_I2CEx_ConfigDigitalFilter(&hi2c2, 0) != HAL_OK)
  {
    Error_Handler();
  }

}

static void MX_RTC_Init(void)
{

  /** Initialize RTC Only
  */
  hrtc.Instance = RTC;
  hrtc.Init.HourFormat = RTC_HOURFORMAT_24;
  hrtc.Init.AsynchPrediv = 127;
  hrtc.Init.SynchPrediv = 255;
  hrtc.Init.OutPut = RTC_OUTPUT_DISABLE;
  hrtc.Init.OutPutRemap = RTC_OUTPUT_REMAP_NONE;
  hrtc.Init.OutPutPolarity = RTC_OUTPUT_POLARITY_HIGH;
  hrtc.Init.OutPutType = RTC_OUTPUT_TYPE_OPENDRAIN;
  hrtc.Init.OutPutPullUp = RTC_OUTPUT_PULLUP_NONE;
  if (HAL_RTC_Init(&hrtc) != HAL_OK)
  {
    Error_Handler();
  }

}

static void MX_TIM1_Init(void)
{

  TIM_ClockConfigTypeDef sClockSourceConfig = {0};
  TIM_MasterConfigTypeDef sMasterConfig = {0};
  TIM_OC_InitTypeDef sConfigOC = {0};
  TIM_BreakDeadTimeConfigTypeDef sBreakDeadTimeConfig = {0};

  htim1.Instance = TIM1;
  htim1.Init.Prescaler = 0;
  htim1.Init.CounterMode = TIM_COUNTERMODE_UP;
  htim1.Init.Period = 4000;
  htim1.Init.ClockDivision = TIM_CLOCKDIVISION_DIV1;
  htim1.Init.RepetitionCounter = 0;
  htim1.Init.AutoReloadPreload = TIM_AUTORELOAD_PRELOAD_DISABLE;
  if (HAL_TIM_Base_Init(&htim1) != HAL_OK)
  {
    Error_Handler();
  }
  sClockSourceConfig.ClockSource = TIM_CLOCKSOURCE_INTERNAL;
  if (HAL_TIM_ConfigClockSource(&htim1, &sClockSourceConfig) != HAL_OK)
  {
    Error_Handler();
  }
  if (HAL_TIM_PWM_Init(&htim1) != HAL_OK)
  {
    Error_Handler();
  }
  sMasterConfig.MasterOutputTrigger = TIM_TRGO_RESET;
  sMasterConfig.MasterOutputTrigger2 = TIM_TRGO2_RESET;
  sMasterConfig.MasterSlaveMode = TIM_MASTERSLAVEMODE_DISABLE;
  if (HAL_TIMEx_MasterConfigSynchronization(&htim1, &sMasterConfig) != HAL_OK)
  {
    Error_Handler();
  }
  sConfigOC.OCMode = TIM_OCMODE_PWM1;
  sConfigOC.Pulse = 0;
  sConfigOC.OCPolarity = TIM_OCPOLARITY_HIGH;
  sConfigOC.OCNPolarity = TIM_OCNPOLARITY_HIGH;
  sConfigOC.OCFastMode = TIM_OCFAST_DISABLE;
  sConfigOC.OCIdleState = TIM_OCIDLESTATE_RESET;
  sConfigOC.OCNIdleState = TIM_OCNIDLESTATE_RESET;
  if (HAL_TIM_PWM_ConfigChannel(&htim1, &sConfigOC, TIM_CHANNEL_1) != HAL_OK)
  {
    Error_Handler();
  }
  if (HAL_TIM_PWM_ConfigChannel(&htim1, &sConfigOC, TIM_CHANNEL_2) != HAL_OK)
  {
    Error_Handler();
  }
  sBreakDeadTimeConfig.OffStateRunMode = TIM_OSSR_DISABLE;
  sBreakDeadTimeConfig.OffStateIDLEMode = TIM_OSSI_DISABLE;
  sBreakDeadTimeConfig.LockLevel = TIM_LOCKLEVEL_OFF;
  sBreakDeadTimeConfig.DeadTime = 0;
  sBreakDeadTimeConfig.BreakState = TIM_BREAK_DISABLE;
  sBreakDeadTimeConfig.BreakPolarity = TIM_BREAKPOLARITY_HIGH;
  sBreakDeadTimeConfig.BreakFilter = 0;
  sBreakDeadTimeConfig.BreakAFMode = TIM_BREAK_AFMODE_INPUT;
  sBreakDeadTimeConfig.Break2State = TIM_BREAK2_DISABLE;
  sBreakDeadTimeConfig.Break2Polarity = TIM_BREAK2POLARITY_HIGH;
  sBreakDeadTimeConfig.Break2Filter = 0;
  sBreakDeadTimeConfig.Break2AFMode = TIM_BREAK_AFMODE_INPUT;
  sBreakDeadTimeConfig.AutomaticOutput = TIM_AUTOMATICOUTPUT_DISABLE;
  if (HAL_TIMEx_ConfigBreakDeadTime(&htim1, &sBreakDeadTimeConfig) != HAL_OK)
  {
    Error_Handler();
  }

}

static void MX_TIM2_Init(void)
{

  TIM_ClockConfigTypeDef sClockSourceConfig = {0};
  TIM_MasterConfigTypeDef sMasterConfig = {0};
  TIM_OC_InitTypeDef sConfigOC = {0};

  htim2.Instance = TIM2;
  htim2.Init.Prescaler = 0;
  htim2.Init.CounterMode = TIM_COUNTERMODE_UP;
  htim2.Init.Period = 212;
  htim2.Init.ClockDivision = TIM_CLOCKDIVISION_DIV1;
  htim2.Init.AutoReloadPreload = TIM_AUTORELOAD_PRELOAD_DISABLE;
  if (HAL_TIM_Base_Init(&htim2) != HAL_OK)
  {
    Error_Handler();
  }
  sClockSourceConfig.ClockSource = TIM_CLOCKSOURCE_INTERNAL;
  if (HAL_TIM_ConfigClockSource(&htim2, &sClockSourceConfig) != HAL_OK)
  {
    Error_Handler();
  }
  if (HAL_TIM_PWM_Init(&htim2) != HAL_OK)
  {
    Error_Handler();
  }
  sMasterConfig.MasterOutputTrigger = TIM_TRGO_RESET;
  sMasterConfig.MasterSlaveMode = TIM_MASTERSLAVEMODE_DISABLE;
  if (HAL_TIMEx_MasterConfigSynchronization(&htim2, &sMasterConfig) != HAL_OK)
  {
    Error_Handler();
  }
  sConfigOC.OCMode = TIM_OCMODE_PWM1;
  sConfigOC.Pulse = 0;
  sConfigOC.OCPolarity = TIM_OCPOLARITY_HIGH;
  sConfigOC.OCFastMode = TIM_OCFAST_DISABLE;
  if (HAL_TIM_PWM_ConfigChannel(&htim2, &sConfigOC, TIM_CHANNEL_4) != HAL_OK)
  {
    Error_Handler();
  }
  HAL_TIM_MspPostInit(&htim2);

}

static void MX_TIM6_Init(void)
{

  TIM_MasterConfigTypeDef sMasterConfig = {0};

  htim6.Instance = TIM6;
  htim6.Init.Prescaler = 0;
  htim6.Init.CounterMode = TIM_COUNTERMODE_UP;
  htim6.Init.Period = 4000;
  htim6.Init.AutoReloadPreload = TIM_AUTORELOAD_PRELOAD_ENABLE;
  if (HAL_TIM_Base_Init(&htim6) != HAL_OK)
  {
    Error_Handler();
  }
  sMasterConfig.MasterOutputTrigger = TIM_TRGO_UPDATE;
  sMasterConfig.MasterSlaveMode = TIM_MASTERSLAVEMODE_DISABLE;
  if (HAL_TIMEx_MasterConfigSynchronization(&htim6, &sMasterConfig) != HAL_OK)
  {
    Error_Handler();
  }

}

static void MX_USART2_UART_Init(void)
{

  huart2.Instance = USART2;
  huart2.Init.BaudRate = 230400;
  huart2.Init.WordLength = UART_WORDLENGTH_8B;
  huart2.Init.StopBits = UART_STOPBITS_1;
  huart2.Init.Parity = UART_PARITY_NONE;
  huart2.Init.Mode = UART_MODE_TX_RX;
  huart2.Init.HwFlowCtl = UART_HWCONTROL_NONE;
  huart2.Init.OverSampling = UART_OVERSAMPLING_16;
  huart2.Init.OneBitSampling = UART_ONE_BIT_SAMPLE_DISABLE;
  huart2.Init.ClockPrescaler = UART_PRESCALER_DIV1;
  huart2.AdvancedInit.AdvFeatureInit = UART_ADVFEATURE_NO_INIT;
  if (HAL_UART_Init(&huart2) != HAL_OK)
  {
    Error_Handler();
  }
  if (HAL_UARTEx_SetTxFifoThreshold(&huart2, UART_TXFIFO_THRESHOLD_1_8) != HAL_OK)
  {
    Error_Handler();
  }
  if (HAL_UARTEx_SetRxFifoThreshold(&huart2, UART_RXFIFO_THRESHOLD_1_8) != HAL_OK)
  {
    Error_Handler();
  }
  if (HAL_UARTEx_DisableFifoMode(&huart2) != HAL_OK)
  {
    Error_Handler();
  }

}

static void MX_DMA_Init(void)
{

  /* DMA controller clock enable */
  __HAL_RCC_DMAMUX1_CLK_ENABLE();
  __HAL_RCC_DMA1_CLK_ENABLE();
  __HAL_RCC_DMA2_CLK_ENABLE();

  /* DMA interrupt init */
  /* DMA1_Channel1_IRQn interrupt configuration */
  HAL_NVIC_SetPriority(DMA1_Channel1_IRQn, 0, 0);
  HAL_NVIC_EnableIRQ(DMA1_Channel1_IRQn);
  /* DMA1_Channel2_IRQn interrupt configuration */
  HAL_NVIC_SetPriority(DMA1_Channel2_IRQn, 0, 0);
  HAL_NVIC_EnableIRQ(DMA1_Channel2_IRQn);
  /* DMA1_Channel3_IRQn interrupt configuration */
  HAL_NVIC_SetPriority(DMA1_Channel3_IRQn, 0, 0);
  HAL_NVIC_EnableIRQ(DMA1_Channel3_IRQn);
  /* DMA1_Channel4_IRQn interrupt configuration */
  HAL_NVIC_SetPriority(DMA1_Channel4_IRQn, 0, 0);
  HAL_NVIC_EnableIRQ(DMA1_Channel4_IRQn);
  /* DMA1_Channel5_IRQn interrupt configuration */
  HAL_NVIC_SetPriority(DMA1_Channel5_IRQn, 0, 0);
  HAL_NVIC_EnableIRQ(DMA1_Channel5_IRQn);
  /* DMA1_Channel6_IRQn interrupt configuration */
  HAL_NVIC_SetPriority(DMA1_Channel6_IRQn, 0, 0);
  HAL_NVIC_EnableIRQ(DMA1_Channel6_IRQn);
  /* DMA1_Channel7_IRQn interrupt configuration */
  HAL_NVIC_SetPriority(DMA1_Channel7_IRQn, 0, 0);
  HAL_NVIC_EnableIRQ(DMA1_Channel7_IRQn);
  /* DMA2_Channel1_IRQn interrupt configuration */
  HAL_NVIC_SetPriority(DMA2_Channel1_IRQn, 0, 0);
  HAL_NVIC_EnableIRQ(DMA2_Channel1_IRQn);
  /* DMA2_Channel2_IRQn interrupt configuration */
  HAL_NVIC_SetPriority(DMA2_Channel2_IRQn, 0, 0);
  HAL_NVIC_EnableIRQ(DMA2_Channel2_IRQn);

}

static void MX_GPIO_Init(void)
{
  GPIO_InitTypeDef GPIO_InitStruct = {0};

  /* GPIO Ports Clock Enable */
  __HAL_RCC_GPIOF_CLK_ENABLE();
  __HAL_RCC_GPIOA_CLK_ENABLE();
  __HAL_RCC_GPIOB_CLK_ENABLE();

  /*Configure GPIO pin Output Level */
  HAL_GPIO_WritePin(GPIOA, TRILL_3V3_Pin|PSOC_PULLUP_SDA_Pin, GPIO_PIN_RESET);

  /*Configure GPIO pin Output Level */
  HAL_GPIO_WritePin(GPIOB, SW_LED_A_Pin|SW_LED_B_Pin|DEBUG3_Pin, GPIO_PIN_RESET);

  /*Configure GPIO pins : TRILL_3V3_Pin PSOC_PULLUP_SDA_Pin */
  GPIO_InitStruct.Pin = TRILL_3V3_Pin|PSOC_PULLUP_SDA_Pin;
  GPIO_InitStruct.Mode = GPIO_MODE_OUTPUT_PP;
  GPIO_InitStruct.Pull = GPIO_NOPULL;
  GPIO_InitStruct.Speed = GPIO_SPEED_FREQ_LOW;
  HAL_GPIO_Init(GPIOA, &GPIO_InitStruct);

  /*Configure GPIO pin : ADC_DIG_IN_Pin */
  GPIO_InitStruct.Pin = ADC_DIG_IN_Pin;
  GPIO_InitStruct.Mode = GPIO_MODE_INPUT;
  GPIO_InitStruct.Pull = GPIO_NOPULL;
  HAL_GPIO_Init(ADC_DIG_IN_GPIO_Port, &GPIO_InitStruct);

  /*Configure GPIO pin : PSOC_EVENT_Pin */
  GPIO_InitStruct.Pin = PSOC_EVENT_Pin;
  GPIO_InitStruct.Mode = GPIO_MODE_IT_RISING;
  GPIO_InitStruct.Pull = GPIO_NOPULL;
  HAL_GPIO_Init(PSOC_EVENT_GPIO_Port, &GPIO_InitStruct);

  /*Configure GPIO pin : SW0_Pin */
  GPIO_InitStruct.Pin = SW0_Pin;
  GPIO_InitStruct.Mode = GPIO_MODE_INPUT;
  GPIO_InitStruct.Pull = GPIO_PULLUP;
  HAL_GPIO_Init(SW0_GPIO_Port, &GPIO_InitStruct);

  /*Configure GPIO pins : SW_LED_A_Pin SW_LED_B_Pin DEBUG3_Pin */
  GPIO_InitStruct.Pin = SW_LED_A_Pin|SW_LED_B_Pin|DEBUG3_Pin;
  GPIO_InitStruct.Mode = GPIO_MODE_OUTPUT_PP;
  GPIO_InitStruct.Pull = GPIO_NOPULL;
  GPIO_InitStruct.Speed = GPIO_SPEED_FREQ_LOW;
  HAL_GPIO_Init(GPIOB, &GPIO_InitStruct);

  /* EXTI interrupt init*/
  HAL_NVIC_SetPriority(EXTI3_IRQn, 9, 0);
  HAL_NVIC_EnableIRQ(EXTI3_IRQn);

}

void Error_Handler(void)
{
  __disable_irq();
  while (1)
  {
  }
}

/************************ (C) COPYRIGHT STMicroelectronics *****END OF FILE****/
